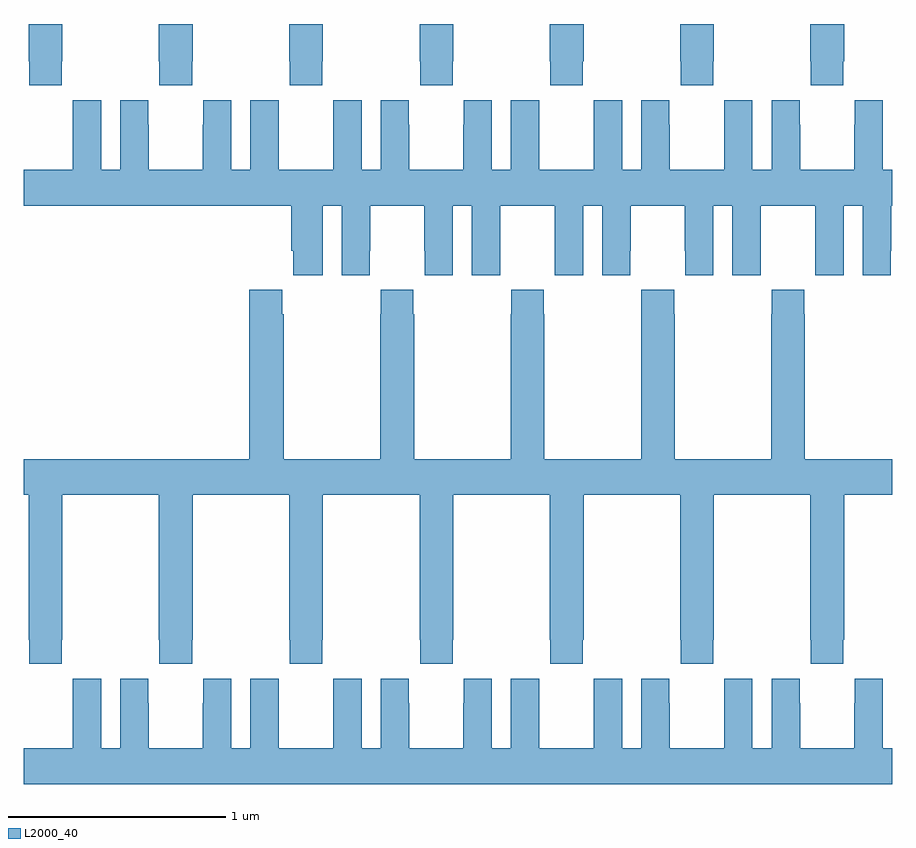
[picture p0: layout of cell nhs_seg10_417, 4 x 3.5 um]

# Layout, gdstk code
import gdstk
lib = gdstk.Library(unit=1e-6, precision=1e-09)
def P(c, l, *ps):  # polygons
    for p in ps: c.add(gdstk.Polygon(p, *l))
L2000_40 = (2000, 40)

nhs_seg10_417 = lib.new_cell('nhs_seg10_417')
P(nhs_seg10_417, L2000_40, [(131.175,1286.329),(131.178,1286.329),(131.178,1286.5),(131.023,1286.5),(131.023,1286.329),(131.025,1286.329),(131.025,1286.217),(131.175,1286.217)],
  [(131.775,1286.329),(131.778,1286.329),(131.778,1286.5),(131.623,1286.5),(131.623,1286.329),(131.625,1286.329),(131.625,1286.217),(131.775,1286.217)],
  [(132.375,1286.329),(132.378,1286.329),(132.378,1286.5),(132.223,1286.5),(132.223,1286.329),(132.225,1286.329),(132.225,1286.217),(132.375,1286.217)],
  [(132.975,1286.329),(132.978,1286.329),(132.978,1286.5),(132.823,1286.5),(132.823,1286.329),(132.825,1286.329),(132.825,1286.217),(132.975,1286.217)],
  [(133.575,1286.329),(133.578,1286.329),(133.578,1286.5),(133.423,1286.5),(133.423,1286.329),(133.425,1286.329),(133.425,1286.217),(133.575,1286.217)],
  [(134.175,1286.329),(134.178,1286.329),(134.178,1286.5),(134.023,1286.5),(134.023,1286.329),(134.025,1286.329),(134.025,1286.217),(134.175,1286.217)],
  [(134.775,1286.329),(134.778,1286.329),(134.778,1286.5),(134.623,1286.5),(134.623,1286.329),(134.625,1286.329),(134.625,1286.217),(134.775,1286.217)],
  [(134.045,1285.456),(134.046,1285.456),(134.046,1285.344),(134.176,1285.344),(134.176,1285.664),(134.264,1285.664),(134.264,1285.344),(134.394,1285.344),(134.394,1285.456),(134.395,1285.456),(134.395,1285.664),(134.645,1285.664),(134.645,1285.456),(134.646,1285.456),(134.646,1285.344),(134.776,1285.344),(134.776,1285.664),(134.864,1285.664),(134.864,1285.344),(134.994,1285.344),(134.994,1285.456),(134.995,1285.456),(134.995,1285.664),(135,1285.664),(135,1285.828),(134.956,1285.828),(134.956,1286.149),(134.826,1286.149),(134.826,1286.036),(134.825,1286.036),(134.825,1285.828),(134.575,1285.828),(134.575,1286.036),(134.574,1286.036),(134.574,1286.149),(134.444,1286.149),(134.444,1285.828),(134.356,1285.828),(134.356,1286.149),(134.226,1286.149),(134.226,1286.036),(134.225,1286.036),(134.225,1285.828),(133.975,1285.828),(133.975,1286.036),(133.974,1286.036),(133.974,1286.149),(133.844,1286.149),(133.844,1285.828),(133.756,1285.828),(133.756,1286.149),(133.626,1286.149),(133.626,1286.036),(133.625,1286.036),(133.625,1285.828),(133.375,1285.828),(133.375,1286.036),(133.374,1286.036),(133.374,1286.149),(133.244,1286.149),(133.244,1285.828),(133.156,1285.828),(133.156,1286.149),(133.026,1286.149),(133.026,1286.036),(133.025,1286.036),(133.025,1285.828),(132.775,1285.828),(132.775,1286.036),(132.774,1286.036),(132.774,1286.149),(132.644,1286.149),(132.644,1285.828),(132.556,1285.828),(132.556,1286.149),(132.426,1286.149),(132.426,1286.036),(132.425,1286.036),(132.425,1285.828),(132.175,1285.828),(132.175,1286.036),(132.174,1286.036),(132.174,1286.149),(132.044,1286.149),(132.044,1285.828),(131.956,1285.828),(131.956,1286.149),(131.826,1286.149),(131.826,1286.036),(131.825,1286.036),(131.825,1285.828),(131.575,1285.828),(131.575,1286.036),(131.574,1286.036),(131.574,1286.149),(131.444,1286.149),(131.444,1285.828),(131.356,1285.828),(131.356,1286.149),(131.226,1286.149),(131.226,1286.036),(131.225,1286.036),(131.225,1285.828),(131,1285.828),(131,1285.664),(132.233,1285.664),(132.233,1285.456),(132.242,1285.456),(132.242,1285.344),(132.376,1285.344),(132.376,1285.664),(132.464,1285.664),(132.464,1285.344),(132.594,1285.344),(132.594,1285.456),(132.595,1285.456),(132.595,1285.664),(132.845,1285.664),(132.845,1285.456),(132.846,1285.456),(132.846,1285.344),(132.976,1285.344),(132.976,1285.664),(133.064,1285.664),(133.064,1285.344),(133.194,1285.344),(133.194,1285.456),(133.195,1285.456),(133.195,1285.664),(133.445,1285.664),(133.445,1285.456),(133.446,1285.456),(133.446,1285.344),(133.576,1285.344),(133.576,1285.664),(133.664,1285.664),(133.664,1285.344),(133.794,1285.344),(133.794,1285.456),(133.795,1285.456),(133.795,1285.664),(134.045,1285.664)],
  [(131.175,1283.665),(131.178,1283.665),(131.178,1284.332),(131.623,1284.332),(131.623,1283.665),(131.625,1283.665),(131.625,1283.553),(131.775,1283.553),(131.775,1283.665),(131.778,1283.665),(131.778,1284.332),(132.223,1284.332),(132.223,1283.665),(132.225,1283.665),(132.225,1283.553),(132.375,1283.553),(132.375,1283.665),(132.378,1283.665),(132.378,1284.332),(132.823,1284.332),(132.823,1283.665),(132.825,1283.665),(132.825,1283.553),(132.975,1283.553),(132.975,1283.665),(132.978,1283.665),(132.978,1284.332),(133.423,1284.332),(133.423,1283.665),(133.425,1283.665),(133.425,1283.553),(133.575,1283.553),(133.575,1283.665),(133.578,1283.665),(133.578,1284.332),(134.023,1284.332),(134.023,1283.665),(134.025,1283.665),(134.025,1283.553),(134.175,1283.553),(134.175,1283.665),(134.178,1283.665),(134.178,1284.332),(134.623,1284.332),(134.623,1283.665),(134.625,1283.665),(134.625,1283.553),(134.775,1283.553),(134.775,1283.665),(134.778,1283.665),(134.778,1284.332),(135,1284.332),(135,1284.496),(134.598,1284.496),(134.598,1285.163),(134.595,1285.163),(134.595,1285.276),(134.445,1285.276),(134.445,1285.163),(134.443,1285.163),(134.443,1284.496),(133.998,1284.496),(133.998,1285.163),(133.995,1285.163),(133.995,1285.276),(133.845,1285.276),(133.845,1285.163),(133.843,1285.163),(133.843,1284.496),(133.398,1284.496),(133.398,1285.163),(133.395,1285.163),(133.395,1285.276),(133.245,1285.276),(133.245,1285.163),(133.243,1285.163),(133.243,1284.496),(132.798,1284.496),(132.798,1285.163),(132.795,1285.163),(132.795,1285.276),(132.645,1285.276),(132.645,1285.163),(132.643,1285.163),(132.643,1284.496),(132.198,1284.496),(132.198,1285.163),(132.191,1285.163),(132.191,1285.276),(132.038,1285.276),(132.038,1284.496),(131,1284.496),(131,1284.332),(131.023,1284.332),(131.023,1283.665),(131.025,1283.665),(131.025,1283.553),(131.175,1283.553)],
  [(135,1283.164),(134.956,1283.164),(134.956,1283.485),(134.826,1283.485),(134.826,1283.372),(134.825,1283.372),(134.825,1283.164),(134.575,1283.164),(134.575,1283.372),(134.574,1283.372),(134.574,1283.485),(134.444,1283.485),(134.444,1283.164),(134.356,1283.164),(134.356,1283.485),(134.226,1283.485),(134.226,1283.372),(134.225,1283.372),(134.225,1283.164),(133.975,1283.164),(133.975,1283.372),(133.974,1283.372),(133.974,1283.485),(133.844,1283.485),(133.844,1283.164),(133.756,1283.164),(133.756,1283.485),(133.626,1283.485),(133.626,1283.372),(133.625,1283.372),(133.625,1283.164),(133.375,1283.164),(133.375,1283.372),(133.374,1283.372),(133.374,1283.485),(133.244,1283.485),(133.244,1283.164),(133.156,1283.164),(133.156,1283.485),(133.026,1283.485),(133.026,1283.372),(133.025,1283.372),(133.025,1283.164),(132.775,1283.164),(132.775,1283.372),(132.774,1283.372),(132.774,1283.485),(132.644,1283.485),(132.644,1283.164),(132.556,1283.164),(132.556,1283.485),(132.426,1283.485),(132.426,1283.372),(132.425,1283.372),(132.425,1283.164),(132.175,1283.164),(132.175,1283.372),(132.174,1283.372),(132.174,1283.485),(132.044,1283.485),(132.044,1283.164),(131.956,1283.164),(131.956,1283.485),(131.826,1283.485),(131.826,1283.372),(131.825,1283.372),(131.825,1283.164),(131.575,1283.164),(131.575,1283.372),(131.574,1283.372),(131.574,1283.485),(131.444,1283.485),(131.444,1283.164),(131.356,1283.164),(131.356,1283.485),(131.226,1283.485),(131.226,1283.372),(131.225,1283.372),(131.225,1283.164),(131,1283.164),(131,1283),(135,1283)])

lib.write_gds('nhs_seg10_417.gds')
